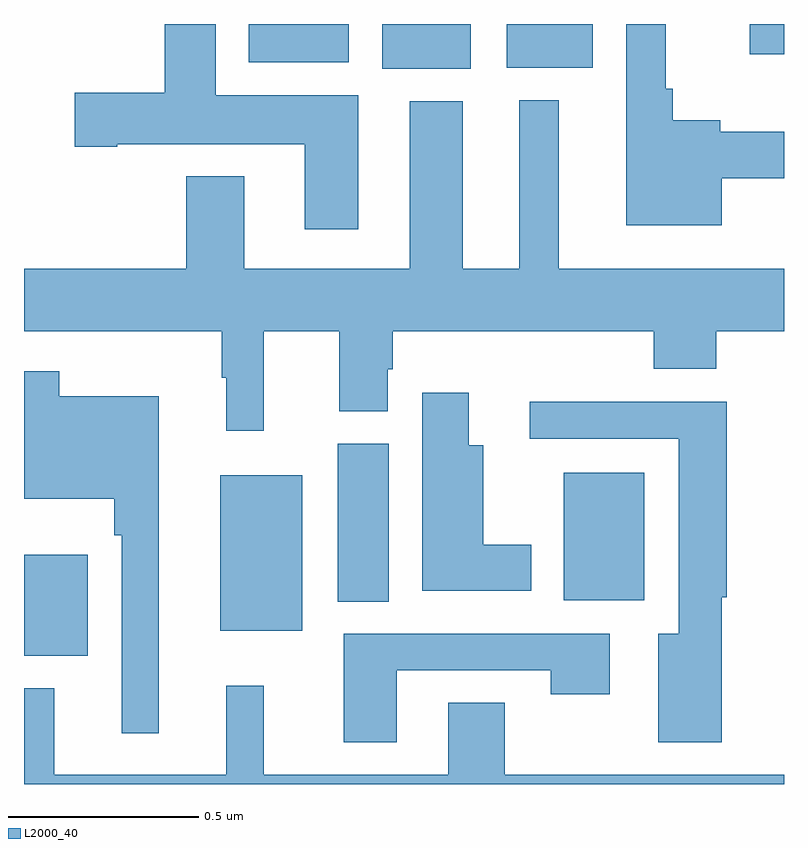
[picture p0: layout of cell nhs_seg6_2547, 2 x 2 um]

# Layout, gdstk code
import gdstk
lib = gdstk.Library(unit=1e-6, precision=1e-09)
def R(c, l, rs):  # rectangles x0, y0, x1, y1
    for r in rs: c.add(gdstk.rectangle(r[:2], r[2:], *l))
def P(c, l, *ps):  # polygons
    for p in ps: c.add(gdstk.Polygon(p, *l))
L2000_40 = (2000, 40)

nhs_seg6_2547 = lib.new_cell('nhs_seg6_2547')
R(nhs_seg6_2547, L2000_40, [(145,923.837,145.168,924.103), (145.517,923.903,145.732,924.313), (145.826,923.98,145.96,924.396), (146.42,923.984,146.632,924.319), (145.943,925.382,146.176,925.5), (146.27,925.385,146.497,925.5), (145.592,925.4,145.855,925.5), (146.91,925.421,147,925.5)])
P(nhs_seg6_2547, L2000_40, [(146.836,925.094),(147,925.094),(147,925.216),(146.832,925.216),(146.832,925.247),(146.707,925.247),(146.707,925.33),(146.689,925.33),(146.689,925.5),(146.585,925.5),(146.585,924.971),(146.836,924.971)],
  [(145.879,925.312),(145.504,925.312),(145.504,925.5),(145.37,925.5),(145.37,925.319),(145.134,925.319),(145.134,925.177),(145.246,925.177),(145.246,925.184),(145.739,925.184),(145.739,924.96),(145.879,924.96)],
  [(145.631,924.692),(145.829,924.692),(145.829,924.481),(145.957,924.481),(145.957,924.591),(145.97,924.591),(145.97,924.692),(146.657,924.692),(146.657,924.593),(146.822,924.593),(146.822,924.692),(147,924.692),(147,924.856),(146.407,924.856),(146.407,925.3),(146.303,925.3),(146.303,924.856),(146.155,924.856),(146.155,925.297),(146.015,925.297),(146.015,924.856),(145.579,924.856),(145.579,925.099),(145.427,925.099),(145.427,924.856),(145,924.856),(145,924.692),(145.521,924.692),(145.521,924.569),(145.532,924.569),(145.532,924.429),(145.631,924.429)],
  [(145.354,924.52),(145.093,924.52),(145.093,924.586),(145,924.586),(145,924.251),(145.237,924.251),(145.237,924.155),(145.257,924.155),(145.257,923.634),(145.354,923.634)],
  [(146.335,924.13),(146.209,924.13),(146.209,924.391),(146.17,924.391),(146.17,924.529),(146.048,924.529),(146.048,924.008),(146.335,924.008)],
  [(146.836,923.992),(146.849,923.992),(146.849,924.506),(146.331,924.506),(146.331,924.408),(146.723,924.408),(146.723,923.896),(146.669,923.896),(146.669,923.61),(146.836,923.61)],
  [(145.981,923.799),(146.386,923.799),(146.386,923.736),(146.542,923.736),(146.542,923.895),(145.841,923.895),(145.841,923.61),(145.981,923.61)],
  [(147,923.524),(146.265,923.524),(146.265,923.714),(146.117,923.714),(146.117,923.524),(145.631,923.524),(145.631,923.758),(145.532,923.758),(145.532,923.524),(145.079,923.524),(145.079,923.752),(145,923.752),(145,923.5),(147,923.5)])

lib.write_gds('nhs_seg6_2547.gds')
